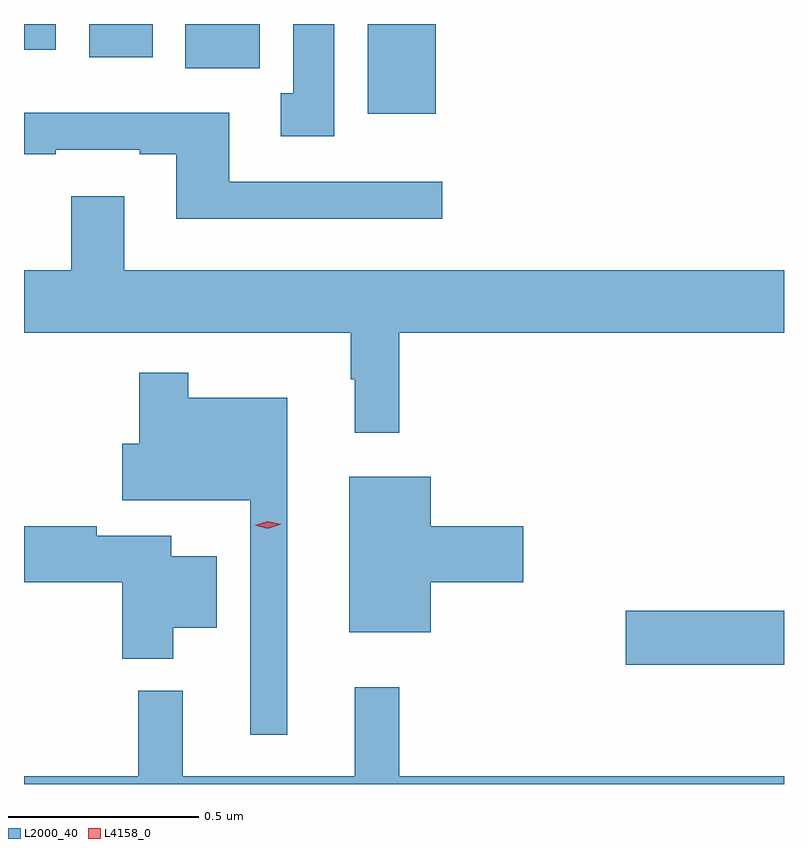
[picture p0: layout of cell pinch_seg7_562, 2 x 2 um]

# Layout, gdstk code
import gdstk
lib = gdstk.Library(unit=1e-6, precision=1e-09)
def R(c, l, rs):  # rectangles x0, y0, x1, y1
    for r in rs: c.add(gdstk.rectangle(r[:2], r[2:], *l))
def P(c, l, *ps):  # polygons
    for p in ps: c.add(gdstk.Polygon(p, *l))
L2000_40 = (2000, 40)
L4158_0 = (4158, 0)

pinch_seg7_562 = lib.new_cell('pinch_seg7_562')
R(pinch_seg7_562, L2000_40, [(149.796,1075.666,150.213,1075.808), (149.117,1077.116,149.296,1077.352), (148.637,1077.236,148.834,1077.352), (148.385,1077.264,148.552,1077.352), (148.213,1077.284,148.297,1077.352)])
P(pinch_seg7_562, L2000_40, [(149.029,1077.352),(148.922,1077.352),(148.922,1077.17),(148.889,1077.17),(148.889,1077.057),(149.029,1077.057)],
  [(149.314,1076.937),(148.753,1076.937),(148.753,1077.118),(148.213,1077.118),(148.213,1077.009),(148.297,1077.009),(148.297,1077.021),(148.517,1077.021),(148.517,1077.009),(148.613,1077.009),(148.613,1076.84),(149.314,1076.84)],
  [(149.201,1076.54),(150.213,1076.54),(150.213,1076.704),(148.477,1076.704),(148.477,1076.899),(148.337,1076.899),(148.337,1076.704),(148.213,1076.704),(148.213,1076.54),(149.073,1076.54),(149.073,1076.417),(149.084,1076.417),(149.084,1076.277),(149.201,1076.277)],
  [(148.906,1076.368),(148.645,1076.368),(148.645,1076.434),(148.516,1076.434),(148.516,1076.247),(148.472,1076.247),(148.472,1076.099),(148.809,1076.099),(148.809,1075.482),(148.906,1075.482)],
  [(149.284,1075.883),(149.527,1075.883),(149.527,1076.03),(149.284,1076.03),(149.284,1076.161),(149.069,1076.161),(149.069,1075.751),(149.284,1075.751)],
  [(148.606,1075.763),(148.72,1075.763),(148.72,1075.951),(148.6,1075.951),(148.6,1076.005),(148.404,1076.005),(148.404,1076.03),(148.213,1076.03),(148.213,1075.883),(148.472,1075.883),(148.472,1075.682),(148.606,1075.682)],
  [(150.213,1075.372),(149.201,1075.372),(149.201,1075.606),(149.084,1075.606),(149.084,1075.372),(148.631,1075.372),(148.631,1075.597),(148.513,1075.597),(148.513,1075.372),(148.213,1075.372),(148.213,1075.352),(150.213,1075.352)])
P(pinch_seg7_562, L4158_0, [(148.855,1076.024),(148.82,1076.033),(148.82,1076.033),(148.82,1076.033),(148.855,1076.044),(148.89,1076.036),(148.89,1076.036),(148.89,1076.036)])

lib.write_gds('pinch_seg7_562.gds')
